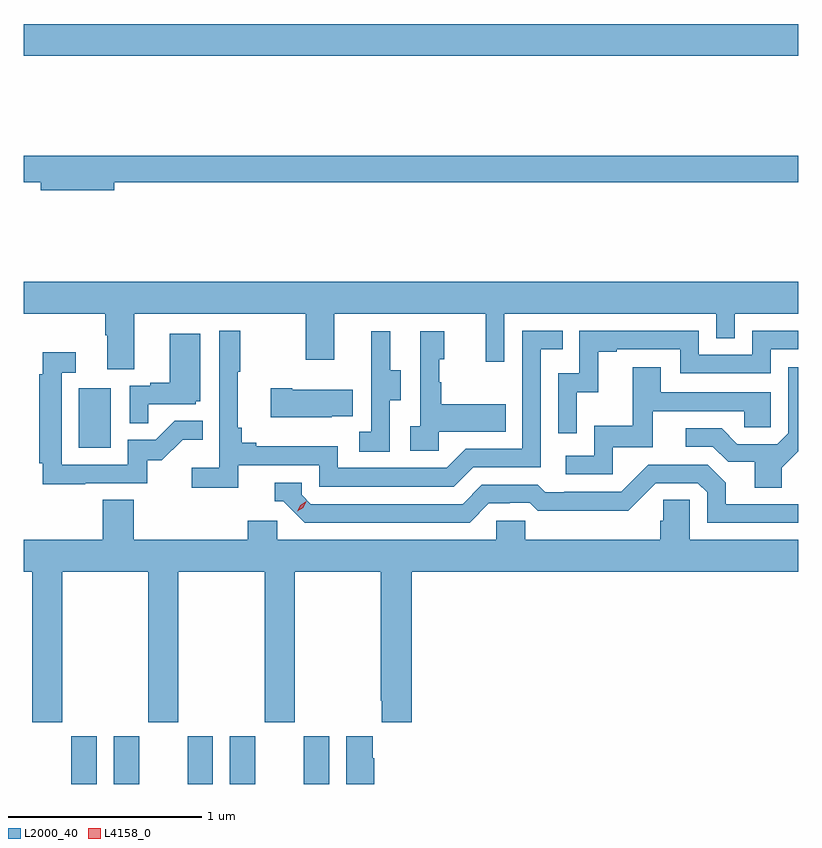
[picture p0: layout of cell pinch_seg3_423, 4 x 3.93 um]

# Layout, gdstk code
import gdstk
lib = gdstk.Library(unit=1e-6, precision=1e-09)
def R(c, l, rs):  # rectangles x0, y0, x1, y1
    for r in rs: c.add(gdstk.rectangle(r[:2], r[2:], *l))
def P(c, l, *ps):  # polygons
    for p in ps: c.add(gdstk.Polygon(p, *l))
L2000_40 = (2000, 40)
L4158_0 = (4158, 0)

pinch_seg3_423 = lib.new_cell('pinch_seg3_423')
R(pinch_seg3_423, L2000_40, [(908.759,686.499,908.89,686.746), (908.978,686.499,909.109,686.746), (909.359,686.499,909.49,686.746), (909.578,686.499,909.709,686.746), (909.959,686.499,910.09,686.746), (908.798,688.236,908.962,688.543), (908.513,690.26,912.513,690.424)])
P(pinch_seg3_423, L2000_40, [(908.98,689.608),(912.513,689.608),(912.513,689.744),(908.513,689.744),(908.513,689.608),(908.6,689.608),(908.6,689.566),(908.98,689.566)],
  [(908.513,688.928),(908.933,688.928),(908.933,688.816),(908.945,688.816),(908.945,688.642),(909.085,688.642),(909.085,688.928),(909.97,688.928),(909.97,688.689),(910.117,688.689),(910.117,688.928),(910.898,688.928),(910.898,688.68),(910.995,688.68),(910.995,688.928),(912.09,688.928),(912.09,688.801),(912.186,688.801),(912.186,688.928),(912.513,688.928),(912.513,689.092),(908.513,689.092)],
  [(909.62,688.146),(910.038,688.146),(910.038,688.035),(910.735,688.035),(910.834,688.134),(911.184,688.134),(911.184,688.743),(911.297,688.743),(911.297,688.839),(911.088,688.839),(911.088,688.23),(910.797,688.23),(910.698,688.131),(910.134,688.131),(910.134,688.243),(909.715,688.243),(909.715,688.262),(909.638,688.262),(909.638,688.339),(909.619,688.339),(909.619,688.627),(909.631,688.627),(909.631,688.84),(909.522,688.84),(909.522,688.132),(909.381,688.132),(909.381,688.03),(909.62,688.03)],
  [(911.37,688.523),(911.48,688.523),(911.48,688.731),(911.575,688.731),(911.575,688.743),(911.904,688.743),(911.904,688.62),(912.372,688.62),(912.372,688.743),(912.513,688.743),(912.513,688.839),(912.276,688.839),(912.276,688.716),(912,688.716),(912,688.839),(911.382,688.839),(911.382,688.62),(911.274,688.62),(911.274,688.311),(911.37,688.311)],
  [(910.656,688.319),(911.003,688.319),(911.003,688.459),(910.669,688.459),(910.669,688.574),(910.659,688.574),(910.659,688.692),(910.684,688.692),(910.684,688.837),(910.56,688.837),(910.56,688.346),(910.509,688.346),(910.509,688.221),(910.656,688.221)],
  [(910.404,688.48),(910.459,688.48),(910.459,688.635),(910.405,688.635),(910.405,688.837),(910.307,688.837),(910.307,688.623),(910.308,688.623),(910.308,688.319),(910.245,688.319),(910.245,688.216),(910.404,688.216)],
  [(909.155,688.461),(909.402,688.461),(909.402,688.476),(909.424,688.476),(909.424,688.825),(909.266,688.825),(909.266,688.57),(909.167,688.57),(909.167,688.557),(909.06,688.557),(909.06,688.363),(909.155,688.363)],
  [(908.831,688.053),(909.15,688.053),(909.15,688.17),(909.226,688.17),(909.333,688.277),(909.437,688.277),(909.437,688.376),(909.293,688.376),(909.195,688.278),(909.051,688.278),(909.051,688.149),(908.709,688.149),(908.709,688.623),(908.782,688.623),(908.782,688.729),(908.612,688.729),(908.612,688.616),(908.593,688.616),(908.593,688.156),(908.612,688.156),(908.612,688.048),(908.831,688.048)],
  [(911.556,688.239),(911.761,688.239),(911.761,688.425),(912.235,688.425),(912.235,688.341),(912.372,688.341),(912.372,688.521),(911.803,688.521),(911.803,688.651),(911.659,688.651),(911.659,688.348),(911.46,688.348),(911.46,688.194),(911.313,688.194),(911.313,688.098),(911.556,688.098)],
  [(912.427,688.132),(912.513,688.218),(912.513,688.651),(912.462,688.651),(912.462,688.311),(912.405,688.254),(912.199,688.254),(912.118,688.335),(911.931,688.335),(911.931,688.242),(912.072,688.242),(912.152,688.162),(912.287,688.162),(912.287,688.03),(912.427,688.03)],
  [(910.103,688.397),(910.211,688.397),(910.211,688.534),(909.901,688.534),(909.901,688.542),(909.789,688.542),(909.789,688.394),(910.103,688.394)],
  [(910.915,687.948),(911.022,687.948),(911.022,687.951),(911.125,687.951),(911.167,687.909),(911.4,687.909),(911.4,687.911),(911.636,687.911),(911.778,688.053),(911.994,688.053),(912.042,688.005),(912.042,687.849),(912.513,687.849),(912.513,687.945),(912.139,687.945),(912.139,688.055),(912.045,688.149),(911.739,688.149),(911.598,688.008),(911.305,688.008),(911.305,688.005),(911.206,688.005),(911.167,688.044),(910.878,688.044),(910.779,687.945),(909.996,687.945),(909.948,687.993),(909.948,688.056),(909.809,688.056),(909.809,687.96),(909.852,687.96),(909.963,687.849),(910.816,687.849)],
  [(908.712,687.596),(909.157,687.596),(909.157,686.817),(909.312,686.817),(909.312,687.596),(909.757,687.596),(909.757,686.817),(909.912,686.817),(909.912,687.596),(910.357,687.596),(910.357,686.929),(910.361,686.929),(910.361,686.817),(910.517,686.817),(910.517,687.596),(912.513,687.596),(912.513,687.76),(911.952,687.76),(911.952,687.968),(911.815,687.968),(911.815,687.858),(911.801,687.858),(911.801,687.76),(911.103,687.76),(911.103,687.858),(910.953,687.858),(910.953,687.76),(909.822,687.76),(909.822,687.858),(909.671,687.858),(909.671,687.76),(909.08,687.76),(909.08,687.968),(908.92,687.968),(908.92,687.76),(908.513,687.76),(908.513,687.596),(908.557,687.596),(908.557,686.817),(908.712,686.817)],
  [(910.322,686.633),(910.315,686.633),(910.315,686.746),(910.178,686.746),(910.178,686.499),(910.322,686.499)])
P(pinch_seg3_423, L4158_0, [(909.925,687.907),(909.925,687.907),(909.941,687.939),(909.972,687.958),(909.973,687.958),(909.973,687.958),(909.956,687.926),(909.925,687.907)])

lib.write_gds('pinch_seg3_423.gds')
